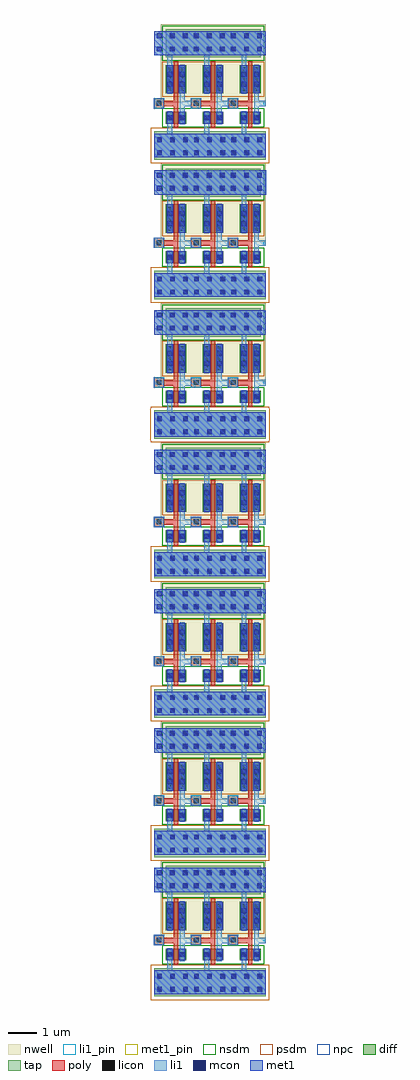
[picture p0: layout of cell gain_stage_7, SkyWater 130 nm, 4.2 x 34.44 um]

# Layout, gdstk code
import gdstk
lib = gdstk.Library(unit=1e-6, precision=1e-09)
def R(c, l, rs):  # rectangles x0, y0, x1, y1
    for r in rs: c.add(gdstk.rectangle(r[:2], r[2:], *l))
def A(c, l, x, y, w, h, nx, ny, dx, dy):  # array of equal rectangles
    R(c, l, [(x+i*dx, y+j*dy, x+i*dx+w, y+j*dy+h) for i in range(nx) for j in range(ny)])
nwell = (64, 20)
diff = (65, 20)
tap = (65, 44)
poly = (66, 20)
licon = (66, 44)
li1_pin = (67, 16)
li1 = (67, 20)
mcon = (67, 44)
met1_pin = (68, 16)
met1 = (68, 20)
nsdm = (93, 44)
psdm = (94, 20)
npc = (95, 20)

sky130_fd_pr__nfet_01v8_ = lib.new_cell('sky130_fd_pr__nfet_01v8_PNPQML')
R(sky130_fd_pr__nfet_01v8_, diff, [(-0.365,-0.21,0.365,0.21)])
R(sky130_fd_pr__nfet_01v8_, poly, [(-0.075,-0.34,0.075,0.34)])
R(sky130_fd_pr__nfet_01v8_, licon, [(-0.305,-0.085,-0.135,0.085), (0.135,-0.085,0.305,0.085)])
R(sky130_fd_pr__nfet_01v8_, li1, [(-0.305,-0.23,-0.135,0.23), (0.135,-0.23,0.305,0.23)])
R(sky130_fd_pr__nfet_01v8_, mcon, [(-0.305,-0.085,-0.135,0.085), (0.135,-0.085,0.305,0.085)])
R(sky130_fd_pr__nfet_01v8_, met1, [(-0.335,-0.21,-0.105,0.21), (0.105,-0.21,0.335,0.21)])
R(sky130_fd_pr__nfet_01v8_, nsdm, [(-0.49,-0.335,0.49,0.335)])

sky130_fd_pr__pfet_01v8_ = lib.new_cell('sky130_fd_pr__pfet_01v8_TH65V5')
R(sky130_fd_pr__pfet_01v8_, nwell, [(-0.545,-0.81,0.545,0.81)])
R(sky130_fd_pr__pfet_01v8_, diff, [(-0.365,-0.5,0.365,0.5)])
R(sky130_fd_pr__pfet_01v8_, poly, [(-0.075,-0.63,0.075,0.63)])
A(sky130_fd_pr__pfet_01v8_, licon, -0.305, -0.425, 0.17, 0.17, 1, 3, 0, 0.34)
A(sky130_fd_pr__pfet_01v8_, licon, 0.135, -0.425, 0.17, 0.17, 1, 3, 0, 0.34)
R(sky130_fd_pr__pfet_01v8_, li1, [(-0.305,-0.52,-0.135,0.52), (0.135,-0.52,0.305,0.52)])
R(sky130_fd_pr__pfet_01v8_, mcon, [(-0.305,-0.265,-0.135,-0.095), (0.135,-0.265,0.305,-0.095), (-0.305,0.095,-0.135,0.265), (0.135,0.095,0.305,0.265)])
R(sky130_fd_pr__pfet_01v8_, met1, [(-0.335,-0.5,-0.105,0.5), (0.105,-0.5,0.335,0.5)])
R(sky130_fd_pr__pfet_01v8_, psdm, [(-0.49,-0.625,0.49,0.625)])

inverter_p1_n0o42 = lib.new_cell('inverter_p1_n0o42')
R(inverter_p1_n0o42, nwell, [(0.06,2.22,0.23,2.39), (-0.08,2.39,0.76,2.51), (-0.18,2.51,0.91,3.65)])
R(inverter_p1_n0o42, tap, [(-0.4,-1.14,0.91,-0.14), (0,2.47,0.73,3.47)])
R(inverter_p1_n0o42, poly, [(-0.4,0.68,-0.07,0.74), (0.29,0.68,0.44,0.74), (-0.4,0.74,0.44,0.94), (-0.4,0.94,-0.07,1.02), (0.29,0.94,0.44,1.07)])
A(inverter_p1_n0o42, licon, -0.305, -0.975, 0.17, 0.17, 3, 2, 0.46, 0.46)
R(inverter_p1_n0o42, licon, [(-0.32,0.765,-0.15,0.935), (0.145,2.685,0.315,2.855), (0.145,3.145,0.315,3.315)])
R(inverter_p1_n0o42, li1, [(-0.4,-1.06,0.91,-0.22), (0.06,-0.22,0.23,0.11), (0.5,0.57,0.67,0.74), (-0.4,0.68,-0.07,1.02), (0.5,0.74,0.91,0.94), (0.5,0.94,0.67,1.18), (0.06,2.22,0.23,2.54), (-0.4,2.54,0.91,3.4)])
A(inverter_p1_n0o42, mcon, -0.305, -0.975, 0.17, 0.17, 3, 2, 0.46, 0.46)
A(inverter_p1_n0o42, mcon, -0.315, 2.685, 0.17, 0.17, 3, 2, 0.46, 0.46)
R(inverter_p1_n0o42, met1, [(-0.4,-1.06,0.91,-0.22), (-0.4,2.54,0.91,3.4)])
R(inverter_p1_n0o42, nsdm, [(-0.125,2.345,0.855,3.595)])
R(inverter_p1_n0o42, psdm, [(-0.525,-1.265,1.035,-0.015)])
R(inverter_p1_n0o42, npc, [(-0.42,0.665,-0.05,1.035)])
inverter_p1_n0o42.add(gdstk.Reference(sky130_fd_pr__nfet_01v8_, (0.365,0.34)))
inverter_p1_n0o42.add(gdstk.Reference(sky130_fd_pr__pfet_01v8_, (0.365,1.7)))

gain_stage = lib.new_cell('gain_stage')
R(gain_stage, nwell, [(1.31,2.03,1.53,3.61), (2.62,2.03,2.84,3.61), (1.13,3.61,1.71,4.61), (2.44,3.61,3.02,4.61), (1.31,4.61,1.53,4.79), (2.62,4.61,2.84,4.79)])
R(gain_stage, tap, [(1.13,3.61,1.71,4.61), (2.44,3.61,3.02,4.61)])
R(gain_stage, li1_pin, [(3.85,1.94,3.93,2.01), (0,1.95,0.08,2.02)])
R(gain_stage, li1, [(3.85,1.94,3.93,2.01), (0,1.95,0.08,2.02)])
R(gain_stage, met1_pin, [(1.86,0.08,2.03,0.16), (1.85,4.46,2.02,4.54)])
R(gain_stage, met1, [(1.86,0.08,2.03,0.16), (1.85,4.46,2.02,4.54)])
R(gain_stage, nsdm, [(1.255,1.145,1.585,1.815), (2.565,1.145,2.895,1.815), (1.005,3.485,1.835,4.735), (2.315,3.485,3.145,4.735)])
R(gain_stage, psdm, [(1.255,2.215,1.585,3.465), (2.565,2.215,2.895,3.465)])
gain_stage.add(gdstk.Reference(inverter_p1_n0o42, (0.4,1.14)))
gain_stage.add(gdstk.Reference(inverter_p1_n0o42, (1.71,1.14)))
gain_stage.add(gdstk.Reference(inverter_p1_n0o42, (3.02,1.14)))
gain_stage.add(gdstk.Label('VDPWR', (1.935,4.5), layer=68, texttype=5))
gain_stage.add(gdstk.Label('VGND', (1.945,0.12), layer=68, texttype=5))
gain_stage.add(gdstk.Label('out', (3.89,1.975), layer=67, texttype=5))
gain_stage.add(gdstk.Label('in', (0.04,1.985), layer=67, texttype=5))

gain_stage_7 = lib.new_cell('gain_stage_7')
R(gain_stage_7, nwell, [(1,-25.71,1.18,-25.53), (1.39,-25.71,1.57,-25.53), (2.31,-25.71,2.49,-25.53), (2.7,-25.71,2.88,-25.53), (1,-25.25,1.18,-25.07), (1.39,-25.25,1.57,-25.07), (2.31,-25.25,2.49,-25.07), (2.7,-25.25,2.88,-25.07), (1,-20.79,1.18,-20.61), (1.39,-20.79,1.57,-20.61), (2.31,-20.79,2.49,-20.61), (2.7,-20.79,2.88,-20.61), (1,-20.33,1.18,-20.15), (1.39,-20.33,1.57,-20.15), (2.31,-20.33,2.49,-20.15), (2.7,-20.33,2.88,-20.15), (1,-15.87,1.18,-15.69), (1.39,-15.87,1.57,-15.69), (2.31,-15.87,2.49,-15.69), (2.7,-15.87,2.88,-15.69), (1,-15.41,1.18,-15.23), (1.39,-15.41,1.57,-15.23), (2.31,-15.41,2.49,-15.23), (2.7,-15.41,2.88,-15.23), (1,-10.95,1.18,-10.77), (1.39,-10.95,1.57,-10.77), (2.31,-10.95,2.49,-10.77), (2.7,-10.95,2.88,-10.77), (1,-10.49,1.18,-10.31), (1.39,-10.49,1.57,-10.31), (2.31,-10.49,2.49,-10.31), (2.7,-10.49,2.88,-10.31), (1,-6.03,1.18,-5.85), (1.39,-6.03,1.57,-5.85), (2.31,-6.03,2.49,-5.85), (2.7,-6.03,2.88,-5.85), (1,-5.57,1.18,-5.39), (1.39,-5.57,1.57,-5.39), (2.31,-5.57,2.49,-5.39), (2.7,-5.57,2.88,-5.39), (1,-1.1,1.18,-0.92), (1.39,-1.1,1.57,-0.92), (2.31,-1.1,2.49,-0.92), (2.7,-1.1,2.88,-0.92), (1,-0.64,1.18,-0.46), (1.39,-0.64,1.57,-0.46), (2.31,-0.64,2.49,-0.46), (2.7,-0.64,2.88,-0.46), (1,3.82,1.18,4), (1.39,3.82,1.57,4), (2.31,3.82,2.49,4), (2.7,3.82,2.88,4), (1,4.28,1.18,4.46), (1.39,4.28,1.57,4.46), (2.31,4.28,2.49,4.46), (2.7,4.28,2.88,4.46)])
R(gain_stage_7, tap, [(0,-29.45,3.93,-28.61), (1,-25.71,1.18,-25.53), (1.39,-25.71,1.57,-25.53), (2.31,-25.71,2.49,-25.53), (2.7,-25.71,2.88,-25.53), (1,-25.25,1.18,-25.07), (1.39,-25.25,1.57,-25.07), (2.31,-25.25,2.49,-25.07), (2.7,-25.25,2.88,-25.07), (0,-24.53,3.93,-23.68), (1,-20.79,1.18,-20.61), (1.39,-20.79,1.57,-20.61), (2.31,-20.79,2.49,-20.61), (2.7,-20.79,2.88,-20.61), (1,-20.33,1.18,-20.15), (1.39,-20.33,1.57,-20.15), (2.31,-20.33,2.49,-20.15), (2.7,-20.33,2.88,-20.15), (0,-19.61,3.93,-18.77), (1,-15.87,1.18,-15.69), (1.39,-15.87,1.57,-15.69), (2.31,-15.87,2.49,-15.69), (2.7,-15.87,2.88,-15.69), (1,-15.41,1.18,-15.23), (1.39,-15.41,1.57,-15.23), (2.31,-15.41,2.49,-15.23), (2.7,-15.41,2.88,-15.23), (0,-14.7,3.93,-13.85), (1,-10.95,1.18,-10.77), (1.39,-10.95,1.57,-10.77), (2.31,-10.95,2.49,-10.77), (2.7,-10.95,2.88,-10.77), (1,-10.49,1.18,-10.31), (1.39,-10.49,1.57,-10.31), (2.31,-10.49,2.49,-10.31), (2.7,-10.49,2.88,-10.31), (-0.01,-9.77,3.94,-8.92), (1,-6.03,1.18,-5.85), (1.39,-6.03,1.57,-5.85), (2.31,-6.03,2.49,-5.85), (2.7,-6.03,2.88,-5.85), (1,-5.57,1.18,-5.39), (1.39,-5.57,1.57,-5.39), (2.31,-5.57,2.49,-5.39), (2.7,-5.57,2.88,-5.39), (0,-4.84,3.93,-4), (1,-1.1,1.18,-0.92), (1.39,-1.1,1.57,-0.92), (2.31,-1.1,2.49,-0.92), (2.7,-1.1,2.88,-0.92), (1,-0.64,1.18,-0.46), (1.39,-0.64,1.57,-0.46), (2.31,-0.64,2.49,-0.46), (2.7,-0.64,2.88,-0.46), (0,0.08,3.93,0.92), (1,3.82,1.18,4), (1.39,3.82,1.57,4), (2.31,3.82,2.49,4), (2.7,3.82,2.88,4), (1,4.28,1.18,4.46), (1.39,4.28,1.57,4.46), (2.31,4.28,2.49,4.46), (2.7,4.28,2.88,4.46)])
R(gain_stage_7, licon, [(1.005,-25.705,1.175,-25.535), (1.395,-25.705,1.565,-25.535), (2.315,-25.705,2.485,-25.535), (2.705,-25.705,2.875,-25.535), (1.005,-25.245,1.175,-25.075), (1.395,-25.245,1.565,-25.075), (2.315,-25.245,2.485,-25.075), (2.705,-25.245,2.875,-25.075), (1.005,-20.785,1.175,-20.615), (1.395,-20.785,1.565,-20.615), (2.315,-20.785,2.485,-20.615), (2.705,-20.785,2.875,-20.615), (1.005,-20.325,1.175,-20.155), (1.395,-20.325,1.565,-20.155), (2.315,-20.325,2.485,-20.155), (2.705,-20.325,2.875,-20.155), (1.005,-15.865,1.175,-15.695), (1.395,-15.865,1.565,-15.695), (2.315,-15.865,2.485,-15.695), (2.705,-15.865,2.875,-15.695), (1.005,-15.405,1.175,-15.235), (1.395,-15.405,1.565,-15.235), (2.315,-15.405,2.485,-15.235), (2.705,-15.405,2.875,-15.235), (1.005,-10.945,1.175,-10.775), (1.395,-10.945,1.565,-10.775), (2.315,-10.945,2.485,-10.775), (2.705,-10.945,2.875,-10.775), (1.005,-10.485,1.175,-10.315), (1.395,-10.485,1.565,-10.315), (2.315,-10.485,2.485,-10.315), (2.705,-10.485,2.875,-10.315), (1.005,-6.025,1.175,-5.855), (1.395,-6.025,1.565,-5.855), (2.315,-6.025,2.485,-5.855), (2.705,-6.025,2.875,-5.855), (1.005,-5.565,1.175,-5.395), (1.395,-5.565,1.565,-5.395), (2.315,-5.565,2.485,-5.395), (2.705,-5.565,2.875,-5.395), (1.005,-1.095,1.175,-0.925), (1.395,-1.095,1.565,-0.925), (2.315,-1.095,2.485,-0.925), (2.705,-1.095,2.875,-0.925), (1.005,-0.635,1.175,-0.465), (1.395,-0.635,1.565,-0.465), (2.315,-0.635,2.485,-0.465), (2.705,-0.635,2.875,-0.465), (1.005,3.825,1.175,3.995), (1.395,3.825,1.565,3.995), (2.315,3.825,2.485,3.995), (2.705,3.825,2.875,3.995), (1.005,4.285,1.175,4.455), (1.395,4.285,1.565,4.455), (2.315,4.285,2.485,4.455), (2.705,4.285,2.875,4.455)])
A(gain_stage_7, li1, 0, -27.71, 0.33, 0.34, 1, 5, 0, 4.92)
A(gain_stage_7, li1, 3.69, -27.65, 0.24, 0.2, 1, 5, 0, 4.92)
R(gain_stage_7, li1, [(0,-29.45,3.93,-28.61), (1,-25.71,1.18,-25.53), (1.39,-25.71,1.57,-25.53), (2.31,-25.71,2.49,-25.53), (2.7,-25.71,2.88,-25.53), (1,-25.25,1.18,-25.07), (1.39,-25.25,1.57,-25.07), (2.31,-25.25,2.49,-25.07), (2.7,-25.25,2.88,-25.07), (0,-24.53,3.93,-23.68), (1,-20.79,1.18,-20.61), (1.39,-20.79,1.57,-20.61), (2.31,-20.79,2.49,-20.61), (2.7,-20.79,2.88,-20.61), (1,-20.33,1.18,-20.15), (1.39,-20.33,1.57,-20.15), (2.31,-20.33,2.49,-20.15), (2.7,-20.33,2.88,-20.15), (0,-19.61,3.93,-18.77), (1,-15.87,1.18,-15.69), (1.39,-15.87,1.57,-15.69), (2.31,-15.87,2.49,-15.69), (2.7,-15.87,2.88,-15.69), (1,-15.41,1.18,-15.23), (1.39,-15.41,1.57,-15.23), (2.31,-15.41,2.49,-15.23), (2.7,-15.41,2.88,-15.23), (0,-14.7,3.93,-13.85), (1,-10.95,1.18,-10.77), (1.39,-10.95,1.57,-10.77), (2.31,-10.95,2.49,-10.77), (2.7,-10.95,2.88,-10.77), (1,-10.49,1.18,-10.31), (1.39,-10.49,1.57,-10.31), (2.31,-10.49,2.49,-10.31), (2.7,-10.49,2.88,-10.31), (-0.01,-9.77,3.94,-8.92), (1,-6.03,1.18,-5.85), (1.39,-6.03,1.57,-5.85), (2.31,-6.03,2.49,-5.85), (2.7,-6.03,2.88,-5.85), (1,-5.57,1.18,-5.39), (1.39,-5.57,1.57,-5.39), (2.31,-5.57,2.49,-5.39), (2.7,-5.57,2.88,-5.39), (0,-4.84,3.93,-4), (0,-3.1,0.33,-2.76), (3.69,-3.04,3.93,-2.84), (1,-1.1,1.18,-0.92), (1.39,-1.1,1.57,-0.92), (2.31,-1.1,2.49,-0.92), (2.7,-1.1,2.88,-0.92), (1,-0.64,1.18,-0.46), (1.39,-0.64,1.57,-0.46), (2.31,-0.64,2.49,-0.46), (2.7,-0.64,2.88,-0.46), (0,0.08,3.93,0.92), (0,1.82,0.33,2.16), (3.69,1.88,3.93,2.08), (1,3.82,1.18,4), (1.39,3.82,1.57,4), (2.31,3.82,2.49,4), (2.7,3.82,2.88,4), (1,4.28,1.18,4.46), (1.39,4.28,1.57,4.46), (2.31,4.28,2.49,4.46), (2.7,4.28,2.88,4.46)])
R(gain_stage_7, mcon, [(1.005,-25.705,1.175,-25.535), (1.395,-25.705,1.565,-25.535), (2.315,-25.705,2.485,-25.535), (2.705,-25.705,2.875,-25.535), (1.005,-25.245,1.175,-25.075), (1.395,-25.245,1.565,-25.075), (2.315,-25.245,2.485,-25.075), (2.705,-25.245,2.875,-25.075), (1.005,-20.785,1.175,-20.615), (1.395,-20.785,1.565,-20.615), (2.315,-20.785,2.485,-20.615), (2.705,-20.785,2.875,-20.615), (1.005,-20.325,1.175,-20.155), (1.395,-20.325,1.565,-20.155), (2.315,-20.325,2.485,-20.155), (2.705,-20.325,2.875,-20.155), (1.005,-15.865,1.175,-15.695), (1.395,-15.865,1.565,-15.695), (2.315,-15.865,2.485,-15.695), (2.705,-15.865,2.875,-15.695), (1.005,-15.405,1.175,-15.235), (1.395,-15.405,1.565,-15.235), (2.315,-15.405,2.485,-15.235), (2.705,-15.405,2.875,-15.235), (1.005,-10.945,1.175,-10.775), (1.395,-10.945,1.565,-10.775), (2.315,-10.945,2.485,-10.775), (2.705,-10.945,2.875,-10.775), (1.005,-10.485,1.175,-10.315), (1.395,-10.485,1.565,-10.315), (2.315,-10.485,2.485,-10.315), (2.705,-10.485,2.875,-10.315), (1.005,-6.025,1.175,-5.855), (1.395,-6.025,1.565,-5.855), (2.315,-6.025,2.485,-5.855), (2.705,-6.025,2.875,-5.855), (1.005,-5.565,1.175,-5.395), (1.395,-5.565,1.565,-5.395), (2.315,-5.565,2.485,-5.395), (2.705,-5.565,2.875,-5.395), (1.005,-1.095,1.175,-0.925), (1.395,-1.095,1.565,-0.925), (2.315,-1.095,2.485,-0.925), (2.705,-1.095,2.875,-0.925), (1.005,-0.635,1.175,-0.465), (1.395,-0.635,1.565,-0.465), (2.315,-0.635,2.485,-0.465), (2.705,-0.635,2.875,-0.465), (1.005,3.825,1.175,3.995), (1.395,3.825,1.565,3.995), (2.315,3.825,2.485,3.995), (2.705,3.825,2.875,3.995), (1.005,4.285,1.175,4.455), (1.395,4.285,1.565,4.455), (2.315,4.285,2.485,4.455), (2.705,4.285,2.875,4.455)])
A(gain_stage_7, met1, 0, -25.85, 3.94, 0.86, 1, 5, 0, 4.92)
R(gain_stage_7, met1, [(0,-29.45,3.93,-28.61), (0,-24.53,3.93,-23.68), (0,-19.61,3.93,-18.77), (0,-14.7,3.93,-13.85), (-0.01,-9.77,3.94,-8.92), (0,-4.84,3.93,-4), (0.01,-1.23,3.95,-0.37), (0,0.08,3.93,0.92), (0,3.68,3.94,4.54)])
A(gain_stage_7, nsdm, 0.875, -25.835, 0.82, 0.89, 1, 5, 0, 4.92)
A(gain_stage_7, nsdm, 2.185, -25.835, 0.82, 0.89, 1, 5, 0, 4.92)
R(gain_stage_7, nsdm, [(0.875,-1.225,1.695,-0.335), (2.185,-1.225,3.005,-0.335), (0.875,3.695,1.695,4.585), (2.185,3.695,3.005,4.585)])
R(gain_stage_7, psdm, [(-0.125,-29.575,4.055,-28.485), (-0.125,-24.655,4.055,-23.555), (-0.125,-19.735,4.055,-18.645), (-0.125,-14.825,4.055,-13.725), (-0.135,-9.895,4.065,-8.795), (-0.125,-4.965,4.055,-3.875), (-0.125,-0.045,4.055,1.045)])
gain_stage_7.add(gdstk.Reference(gain_stage, (0,-4.92)))
gain_stage_7.add(gdstk.Reference(gain_stage, (0,0)))
gain_stage_7.add(gdstk.Reference(gain_stage, (0,-9.85)))
gain_stage_7.add(gdstk.Reference(gain_stage, (0,-14.77)))
gain_stage_7.add(gdstk.Reference(gain_stage, (0,-19.69)))
gain_stage_7.add(gdstk.Reference(gain_stage, (0,-24.61)))
gain_stage_7.add(gdstk.Reference(gain_stage, (0,-29.53)))

lib.write_gds('gain_stage_7.gds')
